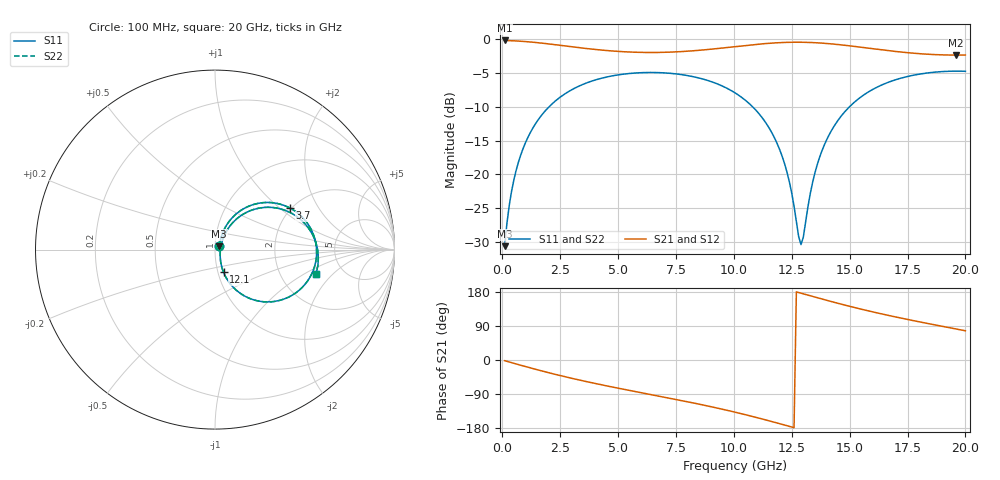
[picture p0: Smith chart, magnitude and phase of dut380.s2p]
! Touchstone file exported from HFSS 2026.1.0
!  File:  C:/ffzhzh/LocalFiles/Ansys_Project_Files/temp_train_TSV_RDL_380_1783042264_46388.aedt
!  Generated:  09:48:01 AM Jul  3, 2026
!  Design:  TSV_RDL
!  Project:  temp_train_TSV_RDL_380_1783042264_46388
! Variables:
!  h_bsmrdl = 3.69um
!  h_ox = 20um
!  h_rdl = 5um
!  h_sub = 54.58um
!  h_tmrdl = 5.84um
!  h_tsv = 54.58um
!  h_via = 3um
!  l_bsmrdl = 907.52um
!  l_sub = 5015.76um
!  l_tmrdl = 443.12um
!  m_sub = 200um
!  pitch = 47.69um
!  r_tsv = 12.1um
!  s_tmrdl = 10um
!  w_bsmrdl = 14.22um
!  w_sub = 500um
!  w_tmrdl = 26.02um
!  x_tsv_center1 = 456.13um
!  x_tsv_center2 = 1377.87um
!  x_tsv_center3 = 1847.01um
!  x_tsv_center4 = 2768.75um
!  x_tsv_center5 = 3237.89um
!  x_tsv_center6 = 4159.63um
# GHz S MA R 50.000000
! Terminal data exported
! Port[1] = TM_RDL1_1_T1
! Port[2] = TM_RDL5_1_T1
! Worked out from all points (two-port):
!   200 points, 100 MHz to 20 GHz, reference 50 ohm
!   highest |S21| = -0.20 dB at 100 MHz (marker M1); lowest = -2.4 dB at 19.6 GHz (marker M2)
!   |S21| within 3 dB of the highest: start of sweep to end of sweep
!   lowest |S11| = -30.6 dB at 100 MHz (marker M3), VSWR 1.06, Z = 52.4 + j1.86 ohm
!   |S11| at or under -10 dB: start of sweep to 2.021 GHz; 10.81 GHz to 14.99 GHz (4.183 GHz wide, 32.4 % of centre)
!   |S22| runs from -30.6 to -4.7 dB; largest |S21 - S12| = 4.2e-14
!   S11 on the Smith chart (normalised r, x): 100 MHz: 1.05, +0.04; 3.7 GHz: 1.97, +1.18; 12.1 GHz: 1.06, -0.27; 20 GHz: 3.16, -1.30
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0.1  0.02954 36.9  0.9768 -1.8  0.9768 -1.8  0.02954 36.9
! Gamma 0 0 0 0
! Port Impedance 50 0 50 0
0.3  0.05907 60.1  0.9741 -5.3  0.9741 -5.3  0.05907 60.1
0.5  0.09131 65.0  0.9707 -8.8  0.9707 -8.8  0.09131 65.0
1.1  0.187 62.7  0.9555 -19.0  0.9555 -19.0  0.187 62.7
2.1  0.3261 50.0  0.917 -35.0  0.917 -35.0  0.3261 50.0
3.5  0.4641 31.4  0.857 -55.2  0.857 -55.2  0.4641 31.4
3.7  0.4785 28.9  0.8493 -57.9  0.8493 -57.9  0.4785 28.9
5.3  0.5526 9.7  0.8054 -77.9  0.8054 -77.9  0.5526 9.7
6.8  0.565 -7.3  0.797 -95.7  0.797 -95.7  0.565 -7.3
8.6  0.5103 -28.2  0.829 -117.8  0.829 -117.8  0.5103 -28.3
10.1  0.3959 -47.2  0.8815 -138.4  0.8815 -138.4  0.3959 -47.2
11.3  0.2521 -62.6  0.9245 -156.9  0.9245 -156.9  0.2521 -62.6
12.1  0.1341 -69.3  0.9432 -170.1  0.9432 -170.1  0.1341 -69.4
12.4  0.08786 -67.1  0.9467 -175.2  0.9467 -175.2  0.08781 -67.3
12.9  0.03034 -6.2  0.9477 176.3  0.9477 176.3  0.03004 -6.3
13.4  0.08723 55.8  0.9424 167.8  0.9424 167.8  0.08708 56.0
13.9  0.164 57.3  0.9311 159.3  0.9311 159.3  0.1639 57.4
14.6  0.2651 50.3  0.9076 147.9  0.9076 147.9  0.265 50.4
16.7  0.4817 23.8  0.8202 117.3  0.8202 117.3  0.4817 23.8
18.2  0.5573 6.2  0.776 98.4  0.776 98.4  0.5573 6.2
19.6  0.5796 -9.3  0.7614 81.9  0.7614 81.9  0.5796 -9.3
20  0.5781 -13.7  0.7623 77.2  0.7623 77.2  0.5781 -13.6
